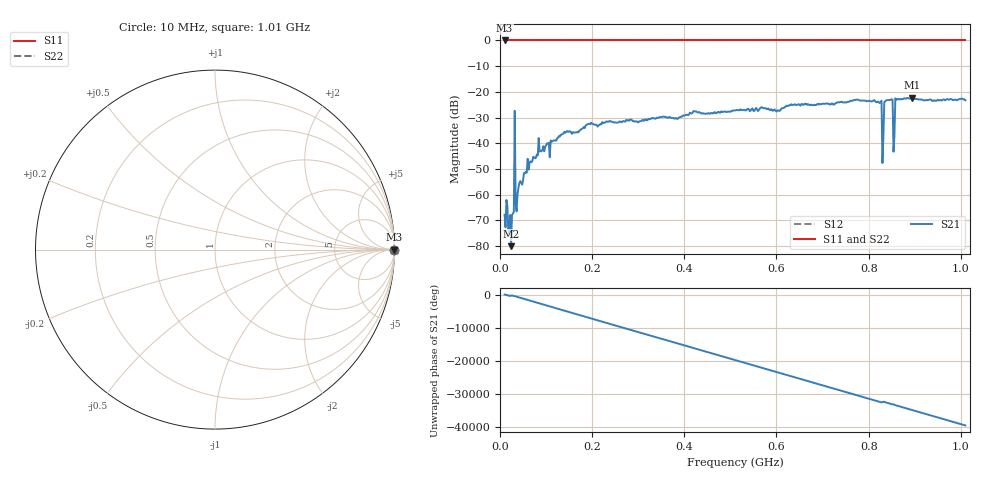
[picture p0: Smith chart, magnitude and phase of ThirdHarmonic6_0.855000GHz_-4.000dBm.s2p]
! 8/16/2025 4:16:47 AM
! C:\ANRITSUVNA\TEMP\TEMP.S2P
! CHANNEL.1
! TR.MEASUREMENT
! RAW.DATA
! RF.CORRECTION.OFF
! AVERAGING.OFF
! IF.BANDWIDTH: 5KHZ
! SWEEPTYPE:  FREQ.SWEEP(Linear)
! Reference Plane Port Info
! PORT:  PORT1  PORT2
! DISTANCE:  0  m  0  m
! TIME:  0  s  0  s
! PHASE.OFFSET:  0  deg.  0  deg.
! LOSS:  0  dB  0  dB
! REF.LOSS:  0  dB  0  dB
! REF.FREQ:  0  Hz  0  Hz
! Power Info
! POWER:  -20  dBm  -20  dBm
! EFF.POWER:  -20  dBm  -20  dBm
! SOURCE.ATTEN:  0  dB  0  dB
! TEST.ATTEN:  0  dB  0  dB
# GHZ S RI R 50.0
! FREQ.GHZ  S11RE  S11IM  S21RE  S21IM  S12RE  S12IM  S22RE  S22IM
!; PortSelection: Port_12
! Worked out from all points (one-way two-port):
!   501 points, 10 MHz to 1.01 GHz, reference 50 ohm
!   highest |S21| = -22.32 dB at 894 MHz (marker M1); lowest = -80.0 dB at 24 MHz (marker M2)
!   lowest |S11| = 0.0 dB at 10 MHz (marker M3)
!   |S11| at or under -10 dB: nowhere
!   |S22| runs from 0.0 to 0.0 dB; largest |S21 - S12| = 1.1
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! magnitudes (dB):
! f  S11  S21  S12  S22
! 10 MHz  0.0  -67.8  0.0  0.0
! 24 MHz  0.0  -80.0  0.0  0.0
! 30 MHz  0.0  -66.7  0.0  0.0
! 36 MHz  0.0  -66.5  0.0  0.0
! 38 MHz  0.0  -59.9  0.0  0.0
! 56 MHz  0.0  -51.1  0.0  0.0
! 84 MHz  0.0  -38.0  0.0  0.0
! 178 MHz  0.0  -34.4  0.0  0.0
! 344 MHz  0.0  -30.1  0.0  0.0
! 510 MHz  0.0  -27.2  0.0  0.0
! 678 MHz  0.0  -25.2  0.0  0.0
! 824 MHz  0.0  -24.3  0.0  0.0
! 828 MHz  0.0  -23.4  0.0  0.0
! 834 MHz  0.0  -24.0  0.0  0.0
! 838 MHz  0.0  -23.3  0.0  0.0
! 844 MHz  0.0  -23.2  0.0  0.0
! 848 MHz  0.0  -23.0  0.0  0.0
! 852 MHz  0.0  -23.1  0.0  0.0
! 858 MHz  0.0  -22.5  0.0  0.0
! 862 MHz  0.0  -23.0  0.0  0.0
! 894 MHz  0.0  -22.3  0.0  0.0
! 1.01 GHz  0.0  -23.3  0.0  0.0
